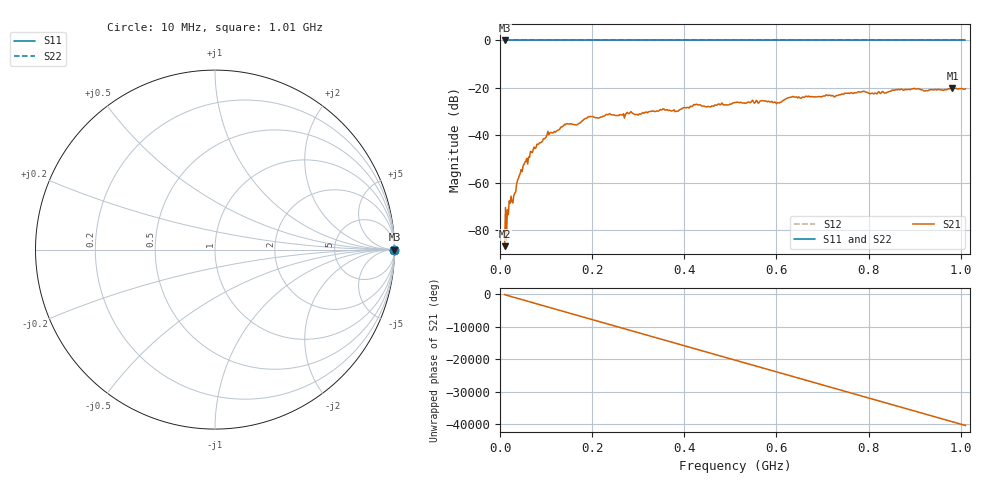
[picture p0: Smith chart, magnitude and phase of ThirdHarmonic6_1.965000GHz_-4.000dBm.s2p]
! 8/16/2025 11:38:34 PM
! C:\ANRITSUVNA\TEMP\TEMP.S2P
! CHANNEL.1
! TR.MEASUREMENT
! RAW.DATA
! RF.CORRECTION.OFF
! AVERAGING.OFF
! IF.BANDWIDTH: 5KHZ
! SWEEPTYPE:  FREQ.SWEEP(Linear)
! Reference Plane Port Info
! PORT:  PORT1  PORT2
! DISTANCE:  0  m  0  m
! TIME:  0  s  0  s
! PHASE.OFFSET:  0  deg.  0  deg.
! LOSS:  0  dB  0  dB
! REF.LOSS:  0  dB  0  dB
! REF.FREQ:  0  Hz  0  Hz
! Power Info
! POWER:  -20  dBm  -20  dBm
! EFF.POWER:  -20  dBm  -20  dBm
! SOURCE.ATTEN:  0  dB  0  dB
! TEST.ATTEN:  0  dB  0  dB
# GHZ S RI R 50.0
! FREQ.GHZ  S11RE  S11IM  S21RE  S21IM  S12RE  S12IM  S22RE  S22IM
!; PortSelection: Port_12
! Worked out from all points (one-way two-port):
!   501 points, 10 MHz to 1.01 GHz, reference 50 ohm
!   highest |S21| = -20.08 dB at 982 MHz (marker M1); lowest = -86.9 dB at 10 MHz (marker M2)
!   lowest |S11| = 0.0 dB at 10 MHz (marker M3)
!   |S11| at or under -10 dB: nowhere
!   |S22| runs from 0.0 to 0.0 dB; largest |S21 - S12| = 1.1
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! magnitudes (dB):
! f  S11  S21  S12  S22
! 10 MHz  0.0  -86.9  0.0  0.0
! 16 MHz  0.0  -71.5  0.0  0.0
! 18 MHz  0.0  -73.6  0.0  0.0
! 20 MHz  0.0  -67.8  0.0  0.0
! 30 MHz  0.0  -65.5  0.0  0.0
! 42 MHz  0.0  -57.0  0.0  0.0
! 70 MHz  0.0  -47.3  0.0  0.0
! 106 MHz  0.0  -39.7  0.0  0.0
! 144 MHz  0.0  -35.2  0.0  0.0
! 178 MHz  0.0  -34.1  0.0  0.0
! 196 MHz  0.0  -32.2  0.0  0.0
! 344 MHz  0.0  -29.8  0.0  0.0
! 384 MHz  0.0  -29.9  0.0  0.0
! 424 MHz  0.0  -27.2  0.0  0.0
! 452 MHz  0.0  -27.9  0.0  0.0
! 510 MHz  0.0  -26.2  0.0  0.0
! 604 MHz  0.0  -26.3  0.0  0.0
! 632 MHz  0.0  -23.9  0.0  0.0
! 678 MHz  0.0  -23.8  0.0  0.0
! 844 MHz  0.0  -21.6  0.0  0.0
! 982 MHz  0.0  -20.1  0.0  0.0
! 1.01 GHz  0.0  -20.4  0.0  0.0
